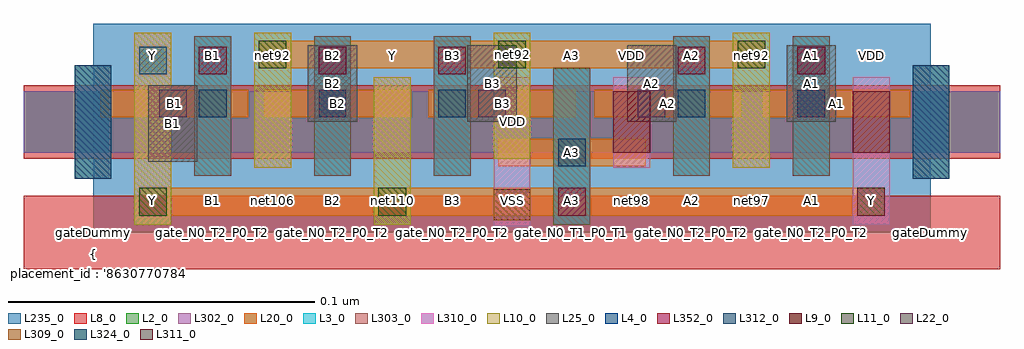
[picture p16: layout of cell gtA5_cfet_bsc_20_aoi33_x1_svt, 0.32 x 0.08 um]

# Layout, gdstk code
import gdstk
lib = gdstk.Library(unit=1e-6, precision=2.5e-10)
def R(c, l, rs):  # rectangles x0, y0, x1, y1
    for r in rs: c.add(gdstk.rectangle(r[:2], r[2:], *l))
def A(c, l, x, y, w, h, nx, ny, dx, dy):  # array of equal rectangles
    R(c, l, [(x+i*dx, y+j*dy, x+i*dx+w, y+j*dy+h) for i in range(nx) for j in range(ny)])
L2_0 = (2, 0)
L3_0 = (3, 0)
L4_0 = (4, 0)
L8_0 = (8, 0)
L9_0 = (9, 0)
L10_0 = (10, 0)
L11_0 = (11, 0)
L20_0 = (20, 0)
L22_0 = (22, 0)
L25_0 = (25, 0)
L235_0 = (235, 0)
L302_0 = (302, 0)
L303_0 = (303, 0)
L309_0 = (309, 0)
L310_0 = (310, 0)
L311_0 = (311, 0)
L312_0 = (312, 0)
L324_0 = (324, 0)
L352_0 = (352, 0)

gta5_cfet_bsc_20_aoi33_x = lib.new_cell('gtA5_cfet_bsc_20_aoi33_x1_svt')
R(gta5_cfet_bsc_20_aoi33_x, L2_0, [(-0.0225,0.026,0.2955,0.046)])
A(gta5_cfet_bsc_20_aoi33_x, L3_0, 0.033, 0.0185, 0.012, 0.0455, 3, 1, 0.039, 0)
R(gta5_cfet_bsc_20_aoi33_x, L3_0, [(0.15,0.0025,0.162,0.0535), (-0.006,0.0175,0.006,0.0545), (0.267,0.0175,0.279,0.0545), (0.189,0.0185,0.201,0.064), (0.228,0.0185,0.24,0.064)])
R(gta5_cfet_bsc_20_aoi33_x, L4_0, [(-0.006,0.0175,0.006,0.0545), (0.267,0.0175,0.279,0.0545)])
R(gta5_cfet_bsc_20_aoi33_x, L8_0, [(-0.0225,-0.012,0.2955,0.012), (-0.0225,0.024,0.2955,0.048)])
R(gta5_cfet_bsc_20_aoi33_x, L9_0, [(0.1695,0.026,0.1815,0.046), (0.2475,0.026,0.2595,0.046)])
R(gta5_cfet_bsc_20_aoi33_x, L10_0, [(0.0135,0.0025,0.0255,0.065), (0.0915,0.0025,0.1035,0.0505), (0.0525,0.021,0.0645,0.065), (0.2085,0.021,0.2205,0.065), (0.1305,0.024,0.1425,0.065)])
A(gta5_cfet_bsc_20_aoi33_x, L11_0, 0.054, 0.0535, 0.009, 0.009, 3, 1, 0.078, 0)
R(gta5_cfet_bsc_20_aoi33_x, L11_0, [(0.015,0.0055,0.024,0.0145), (0.093,0.0055,0.102,0.0145)])
R(gta5_cfet_bsc_20_aoi33_x, L20_0, [(0.015,0.0055,0.258,0.0145), (0.132,0.0215,0.18,0.0305), (0.0025,0.0375,0.0505,0.0465), (0.0558,0.0375,0.1038,0.0465), (0.1092,0.0375,0.1573,0.0465), (0.1633,0.0375,0.2112,0.0465), (0.2182,0.0375,0.2662,0.0465), (0.054,0.0535,0.219,0.0625)])
A(gta5_cfet_bsc_20_aoi33_x, L22_0, 0.0215, 0.0375, 0.009, 0.009, 5, 1, 0.052, 0)
A(gta5_cfet_bsc_20_aoi33_x, L25_0, 0.07, 0.036, 0.016, 0.025, 4, 1, 0.052, 0)
R(gta5_cfet_bsc_20_aoi33_x, L25_0, [(0.018,0.023,0.034,0.048)])
R(gta5_cfet_bsc_20_aoi33_x, L235_0, [(0,0,0.273,0.068)])
R(gta5_cfet_bsc_20_aoi33_x, L302_0, [(-0.0225,0.026,0.2955,0.046)])
A(gta5_cfet_bsc_20_aoi33_x, L303_0, 0.033, 0.0185, 0.012, 0.0455, 3, 1, 0.039, 0)
R(gta5_cfet_bsc_20_aoi33_x, L303_0, [(0.15,0.0025,0.162,0.0535), (-0.006,0.0175,0.006,0.0545), (0.267,0.0175,0.279,0.0545), (0.189,0.0185,0.201,0.064), (0.228,0.0185,0.24,0.064)])
R(gta5_cfet_bsc_20_aoi33_x, L309_0, [(0.1305,0.004,0.1425,0.014)])
R(gta5_cfet_bsc_20_aoi33_x, L310_0, [(0.1305,0.002,0.1425,0.0505), (0.0135,0.0025,0.0255,0.065), (0.2475,0.0025,0.2595,0.0505), (0.0525,0.021,0.0645,0.046), (0.1695,0.021,0.1815,0.0505), (0.2085,0.021,0.2205,0.046), (0.0915,0.026,0.1035,0.0505)])
R(gta5_cfet_bsc_20_aoi33_x, L311_0, [(0.249,0.0055,0.258,0.0145)])
A(gta5_cfet_bsc_20_aoi33_x, L312_0, 0.0345, 0.0375, 0.009, 0.009, 3, 1, 0.039, 0)
R(gta5_cfet_bsc_20_aoi33_x, L312_0, [(0.1515,0.0215,0.1605,0.0305), (0.1905,0.0375,0.1995,0.0465), (0.2295,0.0375,0.2385,0.0465)])
R(gta5_cfet_bsc_20_aoi33_x, L324_0, [(0.015,0.0515,0.024,0.0605)])
A(gta5_cfet_bsc_20_aoi33_x, L352_0, 0.0345, 0.0515, 0.009, 0.009, 3, 1, 0.039, 0)
R(gta5_cfet_bsc_20_aoi33_x, L352_0, [(0.1515,0.0055,0.1605,0.0145), (0.1905,0.0515,0.1995,0.0605), (0.2295,0.0515,0.2385,0.0605)])
gta5_cfet_bsc_20_aoi33_x.add(gdstk.Label('B1', (0.0265,0.042), layer=100, texttype=100))
gta5_cfet_bsc_20_aoi33_x.add(gdstk.Label('B2', (0.0798,0.042), layer=100, texttype=100))
gta5_cfet_bsc_20_aoi33_x.add(gdstk.Label('B3', (0.1333,0.042), layer=100, texttype=100))
gta5_cfet_bsc_20_aoi33_x.add(gdstk.Label('A2', (0.1872,0.042), layer=100, texttype=100))
gta5_cfet_bsc_20_aoi33_x.add(gdstk.Label('A1', (0.2422,0.042), layer=100, texttype=100))
gta5_cfet_bsc_20_aoi33_x.add(gdstk.Label('net92', (0.1365,0.058), layer=100, texttype=100))
gta5_cfet_bsc_20_aoi33_x.add(gdstk.Label('gateDummy', (0,0), layer=103, texttype=103))
gta5_cfet_bsc_20_aoi33_x.add(gdstk.Label('sd_N0_T0_P0_T0', (0.0195,0), layer=103, texttype=103))
gta5_cfet_bsc_20_aoi33_x.add(gdstk.Label('gate_N0_T2_P0_T2', (0.039,0), layer=103, texttype=103))
gta5_cfet_bsc_20_aoi33_x.add(gdstk.Label('sd_N0_abut_P0_T3', (0.0585,0), layer=103, texttype=103))
gta5_cfet_bsc_20_aoi33_x.add(gdstk.Label('gate_N0_T2_P0_T2', (0.078,0), layer=103, texttype=103))
gta5_cfet_bsc_20_aoi33_x.add(gdstk.Label('sd_N0_abut_P0_T0', (0.0975,0), layer=103, texttype=103))
gta5_cfet_bsc_20_aoi33_x.add(gdstk.Label('gate_N0_T2_P0_T2', (0.117,0), layer=103, texttype=103))
gta5_cfet_bsc_20_aoi33_x.add(gdstk.Label('sd_N0_VSS_P0_T3', (0.1365,0), layer=103, texttype=103))
gta5_cfet_bsc_20_aoi33_x.add(gdstk.Label('gate_N0_T1_P0_T1', (0.156,0), layer=103, texttype=103))
gta5_cfet_bsc_20_aoi33_x.add(gdstk.Label('sd_P0_VDD', (0.1755,0), layer=103, texttype=103))
gta5_cfet_bsc_20_aoi33_x.add(gdstk.Label('gate_N0_T2_P0_T2', (0.195,0), layer=103, texttype=103))
gta5_cfet_bsc_20_aoi33_x.add(gdstk.Label('sd_N0_abut_P0_T3', (0.2145,0), layer=103, texttype=103))
gta5_cfet_bsc_20_aoi33_x.add(gdstk.Label('gate_N0_T2_P0_T2', (0.234,0), layer=103, texttype=103))
gta5_cfet_bsc_20_aoi33_x.add(gdstk.Label('sd_N0_T0_P0_VDD', (0.2535,0), layer=103, texttype=103))
gta5_cfet_bsc_20_aoi33_x.add(gdstk.Label('gateDummy', (0.273,0), layer=103, texttype=103))
gta5_cfet_bsc_20_aoi33_x.add(gdstk.Label('}', (0,-0.0742), layer=104, texttype=104))
gta5_cfet_bsc_20_aoi33_x.add(gdstk.Label('  power : None', (0,-0.0675), layer=104, texttype=104))
gta5_cfet_bsc_20_aoi33_x.add(gdstk.Label('  performance : None', (0,-0.0607), layer=104, texttype=104))
gta5_cfet_bsc_20_aoi33_x.add(gdstk.Label("  solution_hash : '15260695763688293297'", (0,-0.054), layer=104, texttype=104))
gta5_cfet_bsc_20_aoi33_x.add(gdstk.Label('  number_m2 : 0', (0,-0.0473), layer=104, texttype=104))
gta5_cfet_bsc_20_aoi33_x.add(gdstk.Label('  number_m1 : 5', (0,-0.0405), layer=104, texttype=104))
gta5_cfet_bsc_20_aoi33_x.add(gdstk.Label('  number_m0cuts : 0', (0,-0.0338), layer=104, texttype=104))
gta5_cfet_bsc_20_aoi33_x.add(gdstk.Label('  number_m0 : 8', (0,-0.027), layer=104, texttype=104))
gta5_cfet_bsc_20_aoi33_x.add(gdstk.Label("  solution_number : '0000'", (0,-0.0203), layer=104, texttype=104))
gta5_cfet_bsc_20_aoi33_x.add(gdstk.Label("  placement_id : '8630770784587703532'", (0,-0.0135), layer=104, texttype=104))
gta5_cfet_bsc_20_aoi33_x.add(gdstk.Label('{', (0,-0.0067), layer=104, texttype=104))
gta5_cfet_bsc_20_aoi33_x.add(gdstk.Label('Y', (0.0195,0.0103), layer=105, texttype=105))
gta5_cfet_bsc_20_aoi33_x.add(gdstk.Label('B1', (0.039,0.0103), layer=105, texttype=105))
gta5_cfet_bsc_20_aoi33_x.add(gdstk.Label('net106', (0.0585,0.0103), layer=105, texttype=105))
gta5_cfet_bsc_20_aoi33_x.add(gdstk.Label('B2', (0.078,0.0103), layer=105, texttype=105))
gta5_cfet_bsc_20_aoi33_x.add(gdstk.Label('net110', (0.0975,0.0103), layer=105, texttype=105))
gta5_cfet_bsc_20_aoi33_x.add(gdstk.Label('B3', (0.117,0.0103), layer=105, texttype=105))
gta5_cfet_bsc_20_aoi33_x.add(gdstk.Label('VSS', (0.1365,0.0103), layer=105, texttype=105))
gta5_cfet_bsc_20_aoi33_x.add(gdstk.Label('A3', (0.156,0.0103), layer=105, texttype=105))
gta5_cfet_bsc_20_aoi33_x.add(gdstk.Label('net98', (0.1755,0.0103), layer=105, texttype=105))
gta5_cfet_bsc_20_aoi33_x.add(gdstk.Label('A2', (0.195,0.0103), layer=105, texttype=105))
gta5_cfet_bsc_20_aoi33_x.add(gdstk.Label('net97', (0.2145,0.0103), layer=105, texttype=105))
gta5_cfet_bsc_20_aoi33_x.add(gdstk.Label('A1', (0.234,0.0103), layer=105, texttype=105))
gta5_cfet_bsc_20_aoi33_x.add(gdstk.Label('Y', (0.2535,0.0103), layer=105, texttype=105))
gta5_cfet_bsc_20_aoi33_x.add(gdstk.Label('Y', (0.0195,0.0578), layer=105, texttype=105))
gta5_cfet_bsc_20_aoi33_x.add(gdstk.Label('B1', (0.039,0.0578), layer=105, texttype=105))
gta5_cfet_bsc_20_aoi33_x.add(gdstk.Label('net92', (0.0585,0.0578), layer=105, texttype=105))
gta5_cfet_bsc_20_aoi33_x.add(gdstk.Label('B2', (0.078,0.0578), layer=105, texttype=105))
gta5_cfet_bsc_20_aoi33_x.add(gdstk.Label('Y', (0.0975,0.0578), layer=105, texttype=105))
gta5_cfet_bsc_20_aoi33_x.add(gdstk.Label('B3', (0.117,0.0578), layer=105, texttype=105))
gta5_cfet_bsc_20_aoi33_x.add(gdstk.Label('net92', (0.1365,0.0578), layer=105, texttype=105))
gta5_cfet_bsc_20_aoi33_x.add(gdstk.Label('A3', (0.156,0.0578), layer=105, texttype=105))
gta5_cfet_bsc_20_aoi33_x.add(gdstk.Label('VDD', (0.1755,0.0578), layer=105, texttype=105))
gta5_cfet_bsc_20_aoi33_x.add(gdstk.Label('A2', (0.195,0.0578), layer=105, texttype=105))
gta5_cfet_bsc_20_aoi33_x.add(gdstk.Label('net92', (0.2145,0.0578), layer=105, texttype=105))
gta5_cfet_bsc_20_aoi33_x.add(gdstk.Label('A1', (0.234,0.0578), layer=105, texttype=105))
gta5_cfet_bsc_20_aoi33_x.add(gdstk.Label('VDD', (0.2535,0.0578), layer=105, texttype=105))
gta5_cfet_bsc_20_aoi33_x.add(gdstk.Label('VSS', (0.1365,0), layer=8, texttype=0))
gta5_cfet_bsc_20_aoi33_x.add(gdstk.Label('VDD', (0.1365,0.036), layer=8, texttype=0))
gta5_cfet_bsc_20_aoi33_x.add(gdstk.Label('Y', (0.1365,0.01), layer=20, texttype=251))
gta5_cfet_bsc_20_aoi33_x.add(gdstk.Label('A3', (0.156,0.026), layer=20, texttype=251))
gta5_cfet_bsc_20_aoi33_x.add(gdstk.Label('B1', (0.026,0.0355), layer=25, texttype=0))
gta5_cfet_bsc_20_aoi33_x.add(gdstk.Label('B2', (0.078,0.0485), layer=25, texttype=0))
gta5_cfet_bsc_20_aoi33_x.add(gdstk.Label('B3', (0.13,0.0485), layer=25, texttype=0))
gta5_cfet_bsc_20_aoi33_x.add(gdstk.Label('A2', (0.182,0.0485), layer=25, texttype=0))
gta5_cfet_bsc_20_aoi33_x.add(gdstk.Label('A1', (0.234,0.0485), layer=25, texttype=0))
gta5_cfet_bsc_20_aoi33_x.add(gdstk.Label('gtA5_cfet_bsc_20nm_aoi33_x1_rvt_0', (0,0), layer=235, texttype=0))

lib.write_gds('gtA5_cfet_bsc_20_aoi33_x1_svt.gds')
